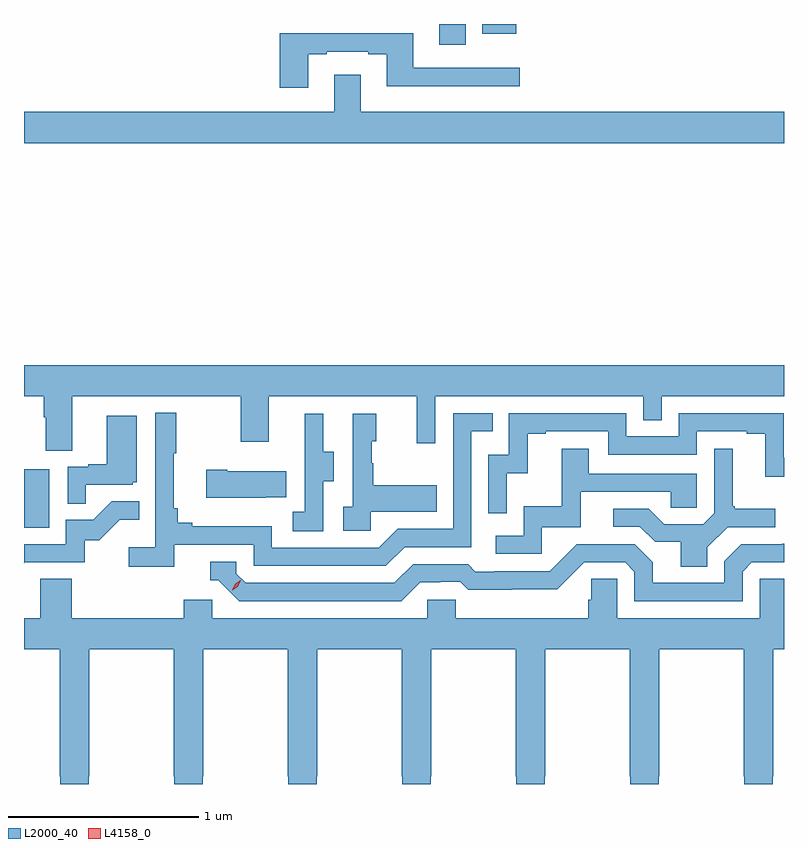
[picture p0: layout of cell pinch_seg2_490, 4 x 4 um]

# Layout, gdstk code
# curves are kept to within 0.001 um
import gdstk
lib = gdstk.Library(unit=1e-6, precision=1e-09)
def R(c, l, rs):  # rectangles x0, y0, x1, y1
    for r in rs: c.add(gdstk.rectangle(r[:2], r[2:], *l))
def P(c, l, *ps):  # polygons
    for p in ps: c.add(gdstk.Polygon(p, *l))
L2000_40 = (2000, 40)
L4158_0 = (4158, 0)

pinch_seg2_490 = lib.new_cell('pinch_seg2_490')
R(pinch_seg2_490, L2000_40, [(970.546,592.332,970.678,592.639), (972.731,594.873,972.871,594.983), (972.959,594.932,973.138,594.983)])
P(pinch_seg2_490, L2000_40, [(972.043,594.825),(972.139,594.825),(972.139,594.837),(972.359,594.837),(972.359,594.825),(972.455,594.825),(972.455,594.656),(973.156,594.656),(973.156,594.753),(972.595,594.753),(972.595,594.934),(971.891,594.934),(971.891,594.648),(972.043,594.648)],
  [(974.546,594.52),(972.319,594.52),(972.319,594.715),(972.179,594.715),(972.179,594.52),(970.546,594.52),(970.546,594.356),(974.546,594.356)],
  [(970.801,593.024),(971.686,593.024),(971.686,592.785),(971.833,592.785),(971.833,593.024),(972.614,593.024),(972.614,592.776),(972.711,592.776),(972.711,593.024),(973.806,593.024),(973.806,592.897),(973.902,592.897),(973.902,593.024),(974.546,593.024),(974.546,593.188),(970.546,593.188),(970.546,593.024),(970.649,593.024),(970.649,592.912),(970.661,592.912),(970.661,592.738),(970.801,592.738)],
  [(971.336,592.242),(971.754,592.242),(971.754,592.131),(972.451,592.131),(972.55,592.23),(972.9,592.23),(972.9,592.839),(973.013,592.839),(973.013,592.935),(972.804,592.935),(972.804,592.326),(972.513,592.326),(972.414,592.227),(971.85,592.227),(971.85,592.339),(971.431,592.339),(971.431,592.358),(971.354,592.358),(971.354,592.435),(971.335,592.435),(971.335,592.723),(971.347,592.723),(971.347,592.936),(971.238,592.936),(971.238,592.228),(971.097,592.228),(971.097,592.126),(971.336,592.126)],
  [(973.086,592.619),(973.196,592.619),(973.196,592.827),(973.291,592.827),(973.291,592.839),(973.62,592.839),(973.62,592.716),(974.088,592.716),(974.088,592.839),(974.351,592.839),(974.351,592.827),(974.447,592.827),(974.447,592.601),(974.546,592.601),(974.546,592.699),(974.544,592.699),(974.544,592.935),(973.992,592.935),(973.992,592.812),(973.716,592.812),(973.716,592.935),(973.098,592.935),(973.098,592.716),(972.99,592.716),(972.99,592.407),(973.086,592.407)],
  [(972.372,592.415),(972.719,592.415),(972.719,592.555),(972.385,592.555),(972.385,592.67),(972.375,592.67),(972.375,592.788),(972.4,592.788),(972.4,592.933),(972.276,592.933),(972.276,592.442),(972.225,592.442),(972.225,592.317),(972.372,592.317)],
  [(972.12,592.576),(972.175,592.576),(972.175,592.731),(972.121,592.731),(972.121,592.933),(972.023,592.933),(972.023,592.719),(972.024,592.719),(972.024,592.415),(971.961,592.415),(971.961,592.312),(972.12,592.312)],
  [(970.871,592.557),(971.118,592.557),(971.118,592.572),(971.14,592.572),(971.14,592.921),(970.982,592.921),(970.982,592.666),(970.883,592.666),(970.883,592.653),(970.776,592.653),(970.776,592.459),(970.871,592.459)],
  [(974.143,592.228),(974.25,592.335),(974.5,592.335),(974.5,592.432),(974.287,592.432),(974.287,592.444),(974.275,592.444),(974.275,592.747),(974.178,592.747),(974.178,592.407),(974.121,592.35),(973.915,592.35),(973.834,592.431),(973.647,592.431),(973.647,592.338),(973.788,592.338),(973.868,592.258),(974.003,592.258),(974.003,592.126),(974.143,592.126)],
  [(973.272,592.335),(973.477,592.335),(973.477,592.521),(973.951,592.521),(973.951,592.437),(974.088,592.437),(974.088,592.617),(973.519,592.617),(973.519,592.747),(973.375,592.747),(973.375,592.444),(973.176,592.444),(973.176,592.29),(973.029,592.29),(973.029,592.194),(973.272,592.194)],
  [(971.819,592.493),(971.927,592.493),(971.927,592.63),(971.617,592.63),(971.617,592.638),(971.505,592.638),(971.505,592.49),(971.819,592.49)],
  [(970.547,592.149),(970.866,592.149),(970.866,592.266),(970.942,592.266),(971.049,592.373),(971.153,592.373),(971.153,592.472),(971.009,592.472),(970.911,592.374),(970.767,592.374),(970.767,592.245),(970.546,592.245),(970.546,592.144)],
  [(972.631,592.044),(972.738,592.044),(972.738,592.047),(972.841,592.047),(972.883,592.005),(973.116,592.005),(973.116,592.007),(973.352,592.007),(973.494,592.149),(973.71,592.149),(973.758,592.101),(973.758,591.945),(974.328,591.945),(974.328,592.101),(974.376,592.149),(974.546,592.149),(974.546,592.247),(974.538,592.247),(974.538,592.245),(974.322,592.245),(974.232,592.155),(974.232,592.041),(973.855,592.041),(973.855,592.151),(973.761,592.245),(973.455,592.245),(973.314,592.104),(973.021,592.104),(973.021,592.101),(972.922,592.101),(972.883,592.14),(972.594,592.14),(972.495,592.041),(971.712,592.041),(971.664,592.089),(971.664,592.152),(971.525,592.152),(971.525,592.056),(971.568,592.056),(971.679,591.945),(972.532,591.945)],
  [(971.538,591.954),(971.387,591.954),(971.387,591.856),(970.796,591.856),(970.796,592.064),(970.631,592.064),(970.631,591.856),(970.546,591.856),(970.546,591.692),(970.735,591.692),(970.735,591.025),(970.737,591.025),(970.737,590.983),(970.887,590.983),(970.887,591.025),(970.89,591.025),(970.89,591.692),(971.335,591.692),(971.335,591.025),(971.337,591.025),(971.337,590.983),(971.487,590.983),(971.487,591.025),(971.49,591.025),(971.49,591.692),(971.935,591.692),(971.935,591.025),(971.937,591.025),(971.937,590.983),(972.087,590.983),(972.087,591.025),(972.09,591.025),(972.09,591.692),(972.535,591.692),(972.535,591.025),(972.537,591.025),(972.537,590.983),(972.687,590.983),(972.687,591.025),(972.69,591.025),(972.69,591.692),(973.135,591.692),(973.135,591.025),(973.137,591.025),(973.137,590.983),(973.287,590.983),(973.287,591.025),(973.29,591.025),(973.29,591.692),(973.735,591.692),(973.735,591.025),(973.737,591.025),(973.737,590.983),(973.887,590.983),(973.887,591.025),(973.89,591.025),(973.89,591.692),(974.335,591.692),(974.335,591.025),(974.337,591.025),(974.337,590.983),(974.487,590.983),(974.487,591.025),(974.49,591.025),(974.49,591.692),(974.546,591.692),(974.546,592.064),(974.418,592.064),(974.418,591.856),(973.668,591.856),(973.668,592.064),(973.531,592.064),(973.531,591.954),(973.517,591.954),(973.517,591.856),(972.819,591.856),(972.819,591.954),(972.669,591.954),(972.669,591.856),(971.538,591.856)])
P(pinch_seg2_490, L4158_0, [(971.641,592.002),(971.641,592.003),(971.657,592.036),(971.687,592.056),(971.688,592.056),(971.688,592.055),(971.672,592.022),(971.642,592.002)])

lib.write_gds('pinch_seg2_490.gds')
